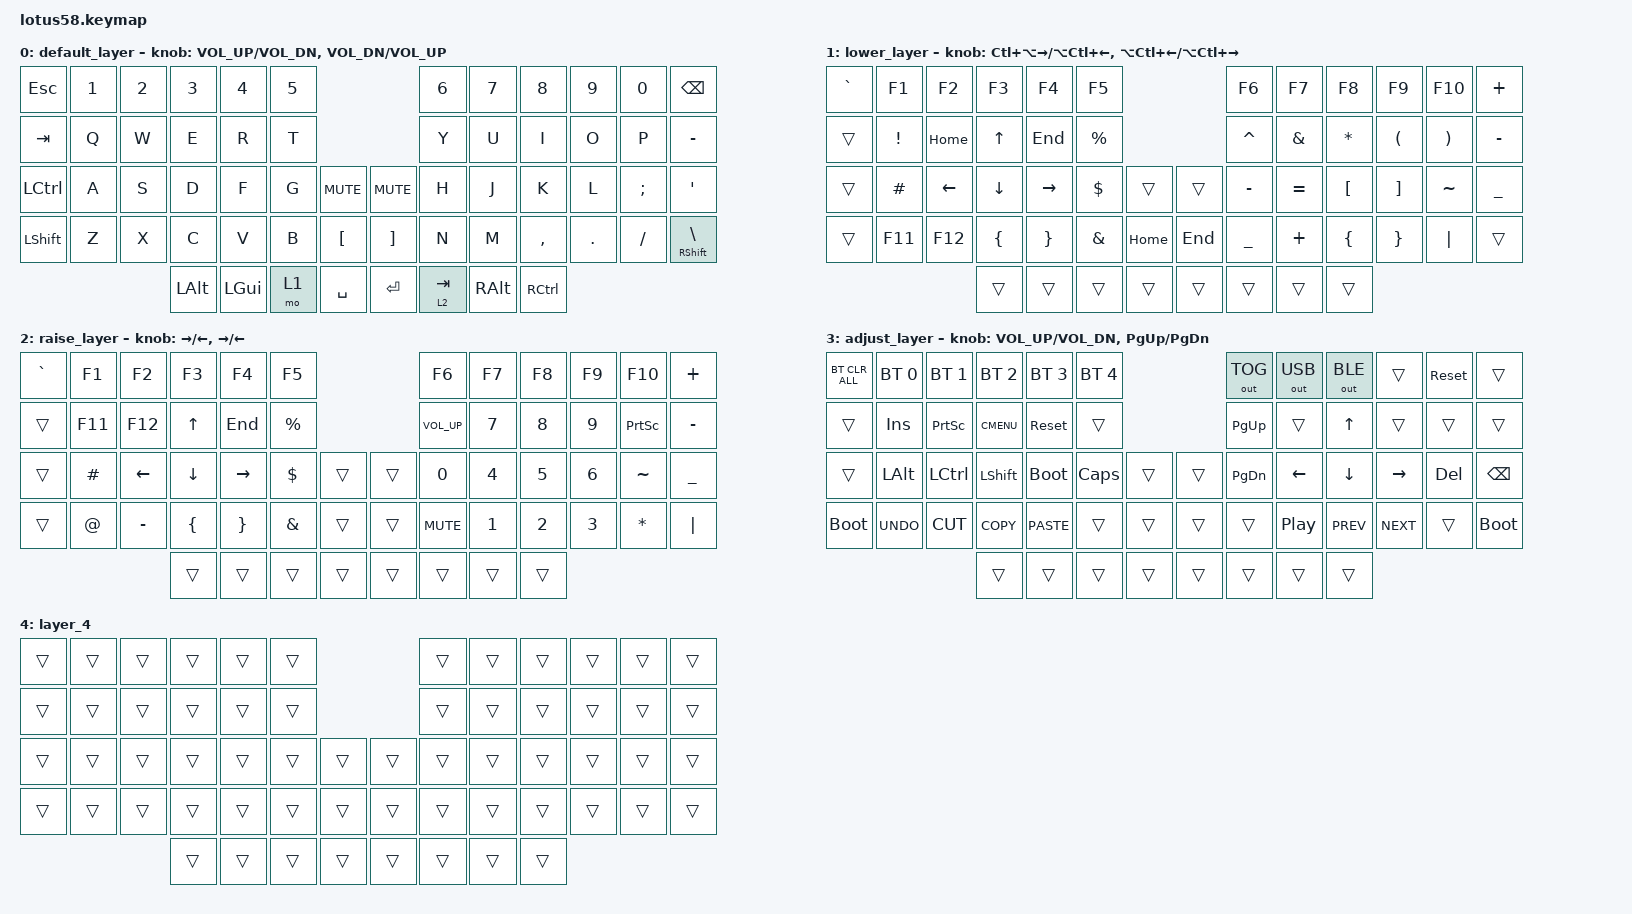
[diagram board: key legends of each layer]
/*
 * Copyright (c) 2022 The ZMK Contributors
 *
 * SPDX-License-Identifier: MIT
 */

#include <behaviors.dtsi>
#include <dt-bindings/zmk/bt.h>
#include <dt-bindings/zmk/keys.h>
#include <dt-bindings/zmk/outputs.h>

/ {
    combos {
        compatible = "zmk,combos";

        combo_dsklg {
            timeout-ms = <100>;
            key-positions = <24 52>;
            layers = <0>;
            bindings = <&kp LGUI>;
        };

        bckspc {
            bindings = <&kp BACKSPACE>;
            key-positions = <33 34>;
        };

        open_terminal {
            bindings = <&open_terminal>;
            key-positions = <15 16 17 47>;
        };

        open_slack {
            bindings = <&open_slack>;
            key-positions = <26 35 25>;
        };

        open_linear {
            bindings = <&open_linear>;
            key-positions = <35 20 46>;
        };

        open_figma {
            bindings = <&open_figma>;
            key-positions = <28 20 29>;
        };

        open_chrome {
            bindings = <&open_chrome>;
            key-positions = <41 16 32>;
        };

        open_hubspot {
            bindings = <&open_hubspot>;
            key-positions = <32 19 26 43>;
        };

        open_gmail {
            bindings = <&open_gmail>;
            key-positions = <29 25 47>;
        };

        open_github {
            bindings = <&open_github>;
            key-positions = <29 17 32 20>;
        };

        open_gitbook {
            bindings = <&open_gitbook>;
            key-positions = <29 20 17 43>;
        };
    };

    behaviors {
        fofunc: four_ffour {
            compatible = "zmk,behavior-mod-morph";
            #binding-cells = <0>;
            bindings = <&kp N4>, <&kp F4>;

            mods = <(MOD_LALT|MOD_RALT)>;
        };

        sleft: s_left {
            compatible = "zmk,behavior-mod-morph";
            #binding-cells = <0>;
            bindings = <&kp S>, <&kp LEFT>;

            mods = <(MOD_LGUI|MOD_RGUI)>;
        };

        fright: f_right {
            compatible = "zmk,behavior-mod-morph";
            #binding-cells = <0>;
            bindings = <&kp F>, <&kp RIGHT>;

            mods = <(MOD_LGUI|MOD_RGUI)>;
        };

        bootlo: bootlo {
            compatible = "zmk,behavior-mod-morph";
            label = "BOOTLO";
            bindings = <&kp C_MUTE>, <&bootloader>;

            #binding-cells = <0>;
            mods = <(MOD_LCTL|MOD_LSFT|MOD_LALT|MOD_LGUI|MOD_RCTL|MOD_RSFT|MOD_RALT|MOD_RGUI)>;
        };

        bootloplay: bootloplay {
            compatible = "zmk,behavior-mod-morph";
            label = "BOOTLOPLAY";
            bindings = <&kp X>, <&bootloader>;

            #binding-cells = <0>;
            mods = <(MOD_LCTL|MOD_LSFT|MOD_LALT|MOD_LGUI|MOD_RCTL|MOD_RSFT|MOD_RALT|MOD_RGUI)>;
        };
    };

    macros {
        open_terminal: open_terminal {
            compatible = "zmk,behavior-macro";
            #binding-cells = <0>;
            bindings = <&kp LG(SPACE) &kp T &kp E &kp R &kp M &kp I &kp N &kp A &kp L &kp ENTER>;
            label = "OPEN_TERMINAL";
            wait-ms = <30>;
        };

        open_slack: open_slack {
            compatible = "zmk,behavior-macro";
            #binding-cells = <0>;
            bindings = <&kp LG(SPACE) &kp S &kp L &kp A &kp C &kp K &kp ENTER>;
            label = "OPEN_SLACK";
            wait-ms = <30>;
        };

        open_linear: open_linear {
            compatible = "zmk,behavior-macro";
            #binding-cells = <0>;
            bindings = <&kp LG(SPACE) &kp L &kp I &kp N &kp E &kp A &kp R &kp ENTER>;
            label = "OPEN_LINEAR";
            wait-ms = <30>;
        };

        open_figma: open_figma {
            compatible = "zmk,behavior-macro";
            #binding-cells = <0>;
            bindings = <&kp LG(SPACE) &kp F &kp I &kp G &kp M &kp A &kp ENTER>;
            label = "OPEN_FIGMA";
        };

        open_chrome: open_chrome {
            compatible = "zmk,behavior-macro";
            #binding-cells = <0>;
            bindings = <&kp LG(SPACE) &kp C &kp H &kp R &kp O &kp M &kp E &kp ENTER>;
            label = "OPEN_CHROME";
        };

        open_hubspot: open_hubspot {
            compatible = "zmk,behavior-macro";
            #binding-cells = <0>;
            bindings = <&kp LG(SPACE) &kp H &kp T &kp T &kp P &kp S &kp COLON &kp FSLH &kp FSLH &kp A &kp P &kp P &kp DOT &kp H &kp U &kp B &kp S &kp P &kp O &kp T &kp DOT &kp C &kp O &kp M &kp ENTER>;
            label = "OPEN_HUBSPOT";
        };

        open_gmail: open_gmail {
            compatible = "zmk,behavior-macro";
            #binding-cells = <0>;
            bindings = <&kp LG(SPACE) &kp H &kp T &kp T &kp P &kp S &kp COLON &kp FSLH &kp FSLH &kp G &kp M &kp A &kp I &kp L &kp DOT &kp C &kp O &kp M &kp ENTER>;
            label = "OPEN_GMAIL";
        };

        open_github: open_github {
            compatible = "zmk,behavior-macro";
            #binding-cells = <0>;
            bindings = <&kp LG(SPACE) &kp H &kp T &kp T &kp P &kp S &kp COLON &kp FSLH &kp FSLH &kp G &kp I &kp T &kp H &kp U &kp B &kp DOT &kp C &kp O &kp M &kp ENTER>;
            label = "OPEN_GITHUB";
        };

        open_gitbook: open_gitbook {
            compatible = "zmk,behavior-macro";
            #binding-cells = <0>;
            bindings = <&kp LG(SPACE) &kp H &kp T &kp T &kp P &kp S &kp COLON &kp FSLH &kp FSLH &kp A &kp P &kp P &kp DOT &kp G &kp I &kp T &kp B &kp O &kp O &kp K &kp DOT &kp C &kp O &kp M &kp ENTER>;
            label = "OPEN_GITBOOK";
        };
    };

    keymap {
        compatible = "zmk,keymap";

        default_layer {
            //   ------------------------------------------------------------------------------------------------------------
            //  0|  ESC  |  1  |  2  |  3   |  4   |  5   |                     |  6   |  7    |  8    |  9   |   0   |   =   | 11
            // 12|  TAB  |  Q  |  W  |  E   |  R   |  T   |                     |  Y   |  U    |  I    |  O   |   P   |   [   | 23
            // 24|  SFT  |  A  |  S  |  D   |  F   |  G   |  RESET  |  | RESET  |  H   |  J    |  K    |  L   |   ;   | ' SFT | 37
            // 38|  CTRL |  Z  |  X  |  C   |  V   |  B   |  MUTE   |  | PLAY   |  N   |  M    |  ,    |  .   |   /   | \ CTRL| 51
            // 52                    |ENT RS|  ALT | SPACE|DELETE LW|  |ENTER RS| BSPC |  ] LW | RGUI  |                        59

            bindings = <
&kp ESC           &kp N1  &kp N2  &kp N3        &kp N4        &kp N5                                       &kp N6     &kp N7         &kp N8             &kp N9   &kp N0    &kp BACKSPACE
&kp TAB           &kp Q   &kp W   &kp E         &kp R         &kp T                                        &kp Y      &kp U          &kp I              &kp O    &kp P     &kp MINUS
&kp LEFT_CONTROL  &kp A   &kp S   &kp D         &kp F         &kp G   &kp C_MUTE        &kp C_MUTE         &kp H      &kp J          &kp K              &kp L    &kp SEMI  &kp APOSTROPHE
&kp LEFT_SHIFT    &kp Z   &kp X   &kp C         &kp V         &kp B   &kp LEFT_BRACKET  &kp RIGHT_BRACKET  &kp N      &kp M          &kp COMMA          &kp DOT  &kp FSLH  &mt RIGHT_SHIFT BACKSLASH
                                  &kp LEFT_ALT  &kp LEFT_GUI  &mo 1   &kp SPACE         &kp ENTER          &lt 2 TAB  &kp RIGHT_ALT  &kp RIGHT_CONTROL
            >;

            sensor-bindings =
                <&inc_dec_kp C_VOL_UP C_VOL_DN>,
                <&inc_dec_kp C_VOL_DN C_VOL_UP>;
        };

        lower_layer {
            // ------------------------------------------------------------------------------------------------------------
            // | `     |  F1 |  F2 |  F3  |  F4  |  F5  |                   |  F6  |  F7   |  F8   |  F9  |  F10  |  F11  |
            // |       |  !  | HOME|   ^  |  END |  %   |                   | VOL^ |  PGUP |  INS  |  ^   |  PSCR |   -   |
            // |       |  #  |  <- |   v  | ->   |  $   |        |  |       | VOLv |    <- |   ^   |  ->  |   ~   |   _   |
            // |       |  @  |  -  |  (   |  )   |  &   |        |  |       | MUTE |  PGDN |   v   |  :   |   *   |   |   |
            //                     |  F11 |      |      |        |  |       |      |       |  F12  |

            bindings = <
&kp GRAVE  &kp F1    &kp F2    &kp F3    &kp F4     &kp F5                        &kp F6     &kp F7     &kp F8            &kp F9                &kp F10    &kp PLUS
&trans     &kp EXCL  &kp HOME  &kp UP    &kp END    &kp PRCNT                     &kp CARET  &kp AMPS   &kp STAR          &kp LEFT_PARENTHESIS  &kp RPAR   &kp MINUS
&trans     &kp HASH  &kp LEFT  &kp DOWN  &kp RIGHT  &kp DLLR   &trans    &trans   &kp MINUS  &kp EQUAL  &kp LEFT_BRACKET  &kp RIGHT_BRACKET     &kp TILDE  &kp UNDER
&trans     &kp F11   &kp F12   &kp LBRC  &kp RBRC   &kp AMPS   &kp HOME  &kp END  &kp UNDER  &kp PLUS   &kp LEFT_BRACE    &kp RIGHT_BRACE       &kp PIPE   &trans
                               &trans    &trans     &trans     &trans    &trans   &trans     &trans     &trans
            >;

            sensor-bindings =
                <&inc_dec_kp LC(LA(RIGHT)) LA(LC(LEFT))>,
                <&inc_dec_kp LA(LC(LEFT_ARROW)) LA(LC(RIGHT_ARROW))>;
        };

        raise_layer {
            // ------------------------------------------------------------------------------------------------------------
            // | `     |  F1 |  F2 |  F3  |  F4  |  F5  |                   |  F6  |  F7   |  F8   |  F9  |  F10  |  F11  |
            // |       |  !  | HOME|   ^  |  END |  %   |                   | VOL^ |  PGUP |  INS  |  ^   |  PSCR |   -   |
            // |       |  #  |  <- |   v  | ->   |  $   |        |  |       | VOLv |    <- |   ^   |  ->  |   ~   |   _   |
            // |       |  @  |  -  |  (   |  )   |  &   |        |  |       | MUTE |  PGDN |   v   |  :   |   *   |   |   |
            //                     |  F11 |      |      |        |  |       |      |       |  F12  |

            bindings = <
&kp GRAVE  &kp F1    &kp F2     &kp F3    &kp F4     &kp F5                     &kp F6        &kp F7        &kp F8        &kp F9        &kp F10    &kp PLUS
&trans     &kp F11   &kp F12    &kp UP    &kp END    &kp PRCNT                  &kp C_VOL_UP  &kp N7        &kp N8        &kp N9        &kp PSCRN  &kp MINUS
&trans     &kp HASH  &kp LEFT   &kp DOWN  &kp RIGHT  &kp DLLR   &trans  &trans  &kp N0        &kp NUMBER_4  &kp N5        &kp NUMBER_6  &kp TILDE  &kp UNDER
&trans     &kp AT    &kp MINUS  &kp LBRC  &kp RBRC   &kp AMPS   &trans  &trans  &kp C_MUTE    &kp NUMBER_1  &kp NUMBER_2  &kp NUMBER_3  &kp STAR   &kp PIPE
                                &trans    &trans     &trans     &trans  &trans  &trans        &trans        &trans
            >;

            sensor-bindings = <&inc_dec_kp RIGHT LEFT &inc_dec_kp RIGHT LEFT>;
        };

        adjust_layer {
            // ------------------------------------------------------------------------------------------------------------
            // |BTCLR| BT1  | BT2  |  BT3  |  BT4  |  BT5 |                |OUTTOG|OUTUSB| OUTBT |      | RESET | FLASH |
            // |     | INS  | PSCR | GUI   | RESET |      |                | PGUP |      |   ^   |      |       |       |
            // |     | ALT  | CTRL | SHIFT | FLASH | CAPS |      |  |      | PGDN |   <- |   v   |  ->  |  DEL  | BSPC  |
            // |     | UNDO | CUT  | COPY  | PASTE |      |      |  |      |      |  |>  |  <|<| | |>|> |       |       |
            //                     |       |       |      |      |  |      |      |      |       |

            bindings = <
&bt BT_CLR_ALL  &bt BT_SEL 0  &bt BT_SEL 1  &bt BT_SEL 2  &bt BT_SEL 3  &bt BT_SEL 4                  &out OUT_TOG  &out OUT_USB  &out OUT_BLE  &trans      &sys_reset  &trans
&trans          &kp INS       &kp PSCRN     &kp K_CMENU   &sys_reset    &trans                        &kp PG_UP     &trans        &kp UP        &trans      &trans      &trans
&trans          &kp LALT      &kp LCTRL     &kp LSHFT     &bootloader   &kp CLCK      &trans  &trans  &kp PG_DN     &kp LEFT      &kp DOWN      &kp RIGHT   &kp DEL     &kp BSPC
&bootloader     &kp K_UNDO    &kp K_CUT     &kp K_COPY    &kp K_PASTE   &trans        &trans  &trans  &trans        &kp C_PP      &kp C_PREV    &kp C_NEXT  &trans      &bootloader
                                            &trans        &trans        &trans        &trans  &trans  &trans        &trans        &trans
            >;

            sensor-bindings = <&inc_dec_kp C_VOL_UP C_VOL_DN &inc_dec_kp PG_UP PG_DN>;
        };

        layer_4 {
            bindings = <
&trans  &trans  &trans  &trans  &trans  &trans                  &trans  &trans  &trans  &trans  &trans  &trans
&trans  &trans  &trans  &trans  &trans  &trans                  &trans  &trans  &trans  &trans  &trans  &trans
&trans  &trans  &trans  &trans  &trans  &trans  &trans  &trans  &trans  &trans  &trans  &trans  &trans  &trans
&trans  &trans  &trans  &trans  &trans  &trans  &trans  &trans  &trans  &trans  &trans  &trans  &trans  &trans
                        &trans  &trans  &trans  &trans  &trans  &trans  &trans  &trans
            >;
        };
    };

    conditional_layers {
        compatible = "zmk,conditional-layers";

        l3 {
            if-layers = <1 2>;
            then-layer = <3>;
        };
    };
};
